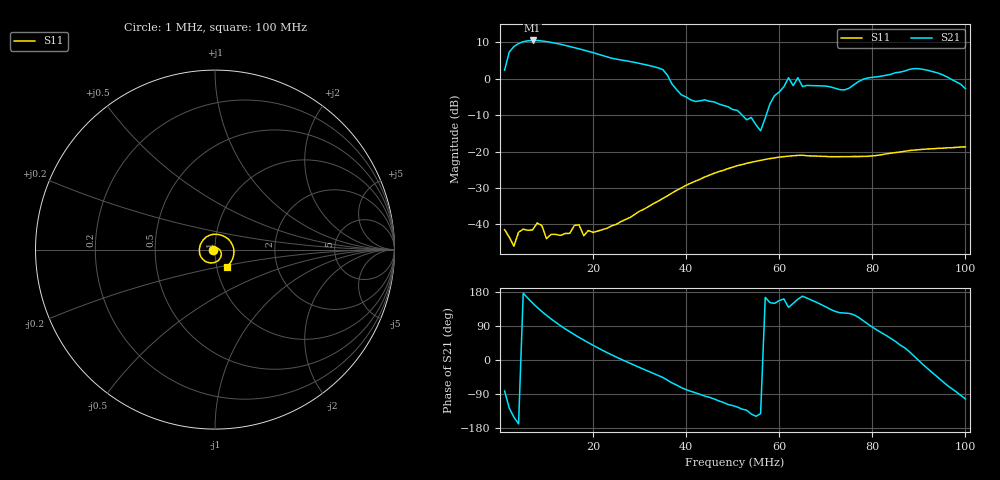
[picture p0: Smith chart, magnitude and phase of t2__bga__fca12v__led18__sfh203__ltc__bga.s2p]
# HZ S RI R 50
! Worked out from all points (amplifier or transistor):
!   100 points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, 1 MHz to 100 MHz, reference 50 ohm
!   highest |S21| = 10.5 dB at 7 MHz (marker M1)
!   |S21| within 3 dB of that: 2.127 MHz to 19.01 MHz (16.88 MHz wide, 160 % of centre)
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1000001  -0.00845 0.000387  0.188 -1.303  0 0  0 0
2000001  -0.00644 -0.00171  -1.406 -1.86  0 0  0 0
4000001  -0.00778 -0.000351  -2.994 -0.6111  0 0  0 0
7000001  -0.00765 0.00343  -2.927 1.665  0 0  0 0
9000001  -0.00724 0.00635  -2.04 2.617  0 0  0 0
1.1e7  -0.00547 0.00481  -0.9906 3.012  0 0  0 0
1.4e7  -0.00481 0.00573  0.3847 2.857  0 0  0 0
1.8e7  -0.00409 0.00566  1.508 1.971  0 0  0 0
2.5e7  0.00432 0.00903  1.848 0.2505  0 0  0 0
3.4e7  0.0205 0.00377  1.071 -0.9251  0 0  0 0
3.9e7  0.0308 -0.00767  0.1747 -0.5757  0 0  0 0
5.1e7  0.0173 -0.0617  -0.2063 -0.305  0 0  0 0
5.6e7  -0.0161 -0.0741  -0.1512 -0.1201  0 0  0 0
6.1e7  -0.0585 -0.062  -0.7363 0.2525  0 0  0 0
6.2e7  -0.0665 -0.0554  -0.7806 0.6803  0 0  0 0
6.5e7  -0.0847 -0.0276  -0.768 0.1586  0 0  0 0
6.7e7  -0.087 -0.00361  -0.7463 0.3064  0 0  0 0
7.7e7  -0.00651 0.0853  -0.355 0.8427  0 0  0 0
8.4e7  0.078 0.0543  0.6318 0.9679  0 0  0 0
9e7  0.1054 -0.0129  1.377 -0.0412  0 0  0 0
9.5e7  0.0927 -0.0615  0.6474 -0.9423  0 0  0 0
1e8  0.067 -0.0949  -0.1623 -0.7142  0 0  0 0
